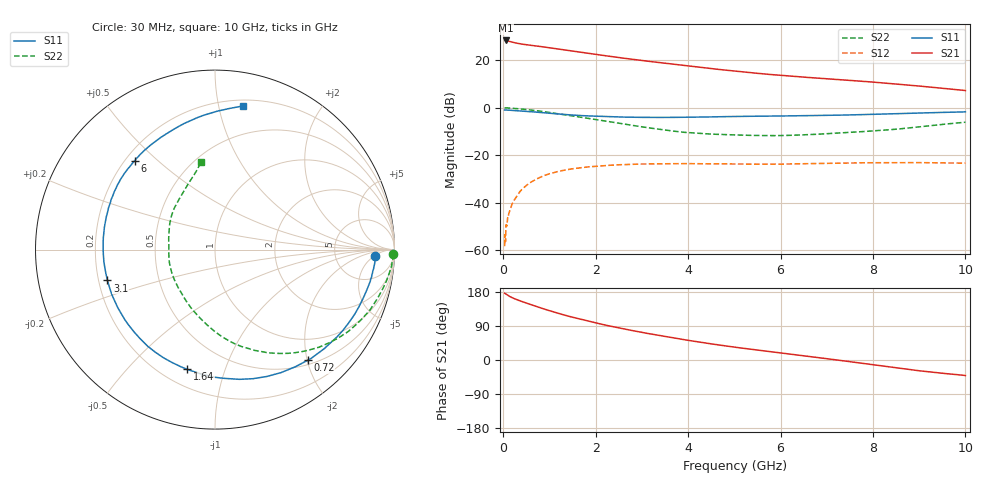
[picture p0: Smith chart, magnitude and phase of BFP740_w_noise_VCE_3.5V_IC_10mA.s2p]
! Infineon Technologies  Discrete & RF Semiconductors
! BFP740
! VCE =  3.5 V,  IC =  10 mA
! Common Emitter S-Parameters:  Jan 2016
# GHz  S  MA  R  50
!  f  S11  S21  S12  S22
! GHz  MAG  ANG  MAG  ANG  MAG  ANG  MAG  ANG
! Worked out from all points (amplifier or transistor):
!   229 points, 30 MHz to 10 GHz, reference 50 ohm
!   highest |S21| = 28.4 dB at 50 MHz (marker M1)
!   |S21| within 3 dB of that: start of sweep to 966.2 MHz
!   unconditionally stable (mu >= 1): 7.181 GHz to end of sweep
!   at 280 MHz: K = 0.17, MSG = 32.5 dB, |S12| = -37.7 dB
!   at 1.78 GHz: K = 0.32, MSG = 24.1 dB, |S12| = -25.1 dB
!   at 10 GHz: K = 1.07, MAG = 13.7 dB, |S12| = -23.4 dB
!   lowest NFmin = 0.51 dB at 450 MHz
!   S11 on the Smith chart (normalised r, x): 30 MHz: 16, -6; 720 MHz: 0.58, -2.01; 1.64 GHz: 0.30, -0.75; 3.1 GHz: 0.24, -0.13; 6 GHz: 0.24, +0.42; 10 GHz: 0.25, +1.18
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0.03  0.8949 -2.3  26.12 176.3  0.0012 80.7  0.9921 -1.5
0.05  0.8941 -3.9  26.16 174.7  0.0015 88.8  0.9907 -2.6
0.06  0.8934 -4.7  26.06 173.6  0.0034 87.2  0.9926 -3.1
0.12  0.8853 -9.3  25.2 168.9  0.0058 82.5  0.9841 -6.3
0.26  0.8668 -19.3  23.27 160.9  0.0121 77.0  0.9609 -12.9
0.5  0.8356 -35.7  21.31 150.3  0.0229 69.7  0.916 -23.3
0.72  0.8043 -50.0  19.9 141.3  0.0312 61.4  0.8658 -32.4
0.86  0.7823 -59.2  19.17 135.5  0.0361 56.7  0.8302 -37.8
1.1  0.7497 -73.6  17.71 126.5  0.043 49.3  0.7674 -46.8
1.3  0.7215 -85.1  16.6 119.3  0.0476 44.0  0.7171 -53.5
1.64  0.6847 -103.0  14.91 108.4  0.0535 36.2  0.6376 -63.8
1.7  0.6803 -106.0  14.62 106.6  0.0544 34.8  0.6236 -65.6
2.3  0.6446 -133.4  12.12 89.8  0.0609 23.5  0.5047 -82.6
2.76  0.6288 -151.6  10.59 78.5  0.0638 17.0  0.4294 -94.6
3.1  0.6234 -164.0  9.639 70.6  0.065 12.8  0.382 -104.2
3.4  0.6227 -173.9  8.869 64.2  0.0657 9.3  0.3477 -113.3
4.1  0.6299 165.8  7.382 50.0  0.0659 2.7  0.2922 -135.6
5.1  0.6535 144.7  5.79 32.4  0.0649 -3.7  0.2646 -163.5
6  0.6673 132.0  4.812 18.7  0.0645 -6.7  0.2582 175.3
6.8  0.6845 121.5  4.198 6.6  0.0664 -9.8  0.2753 158.2
8.4  0.7422 97.5  3.219 -18.9  0.0693 -17.9  0.3449 125.4
10  0.8158 78.9  2.301 -40.9  0.0678 -24.8  0.494 99.0
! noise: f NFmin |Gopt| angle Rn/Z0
0.45  0.51  0.22  7  0.16
0.9  0.52  0.22  13  0.16
1.5  0.54  0.21  22  0.15
1.9  0.57  0.21  40  0.15
2.4  0.6  0.2  46  0.14
3.5  0.7  0.18  59  0.13
5.5  0.87  0.17  198  0.12
10  1.35  0.51  -74  0.16
